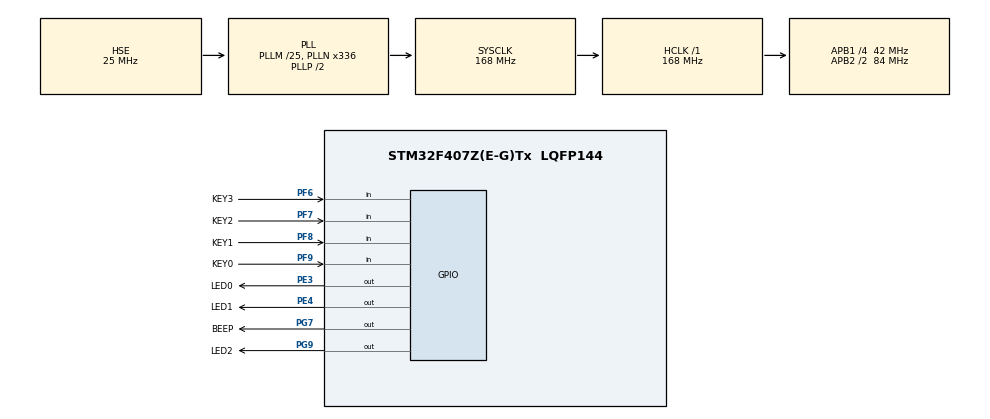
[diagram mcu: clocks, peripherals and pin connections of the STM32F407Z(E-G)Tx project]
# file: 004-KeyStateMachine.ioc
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Mcu.Family=STM32F4
Mcu.Name=STM32F407Z(E-G)Tx
Mcu.Package=LQFP144
NVIC.PriorityGroup=NVIC_PRIORITYGROUP_4
NVIC.TIM3_IRQn=true\:0\:0\:false\:false\:true\:true\:true\:true
PA13.Mode=Serial_Wire
PA13.Signal=SYS_JTMS-SWDIO
PA14.Mode=Serial_Wire
PA14.Signal=SYS_JTCK-SWCLK
PC14-OSC32_IN.Mode=LSE-External-Oscillator
PC14-OSC32_IN.Signal=RCC_OSC32_IN
PC15-OSC32_OUT.Mode=LSE-External-Oscillator
PC15-OSC32_OUT.Signal=RCC_OSC32_OUT
PE3.GPIO_Label=LED0
PE3.PinState=GPIO_PIN_SET
PE3.Signal=GPIO_Output
PE4.GPIO_Label=LED1
PE4.PinState=GPIO_PIN_SET
PE4.Signal=GPIO_Output
PF6.GPIO_Label=KEY3
PF6.GPIO_PuPd=GPIO_PULLUP
PF6.Signal=GPIO_Input
PF7.GPIO_Label=KEY2
PF7.GPIO_PuPd=GPIO_PULLUP
PF7.Signal=GPIO_Input
PF8.GPIO_Label=KEY1
PF8.GPIO_PuPd=GPIO_PULLUP
PF8.Signal=GPIO_Input
PF9.GPIO_Label=KEY0
PF9.GPIO_PuPd=GPIO_PULLUP
PF9.Signal=GPIO_Input
PG7.GPIO_Label=BEEP
PG7.Signal=GPIO_Output
PG9.GPIO_Label=LED2
PG9.PinState=GPIO_PIN_SET
PG9.Signal=GPIO_Output
PH0-OSC_IN.Mode=HSE-External-Oscillator
PH0-OSC_IN.Signal=RCC_OSC_IN
PH1-OSC_OUT.Mode=HSE-External-Oscillator
PH1-OSC_OUT.Signal=RCC_OSC_OUT
ProjectManager.HeapSize=0x200
ProjectManager.StackSize=0x400
ProjectManager.TargetToolchain=CMake
RCC.48MHZClocksFreq_Value=84000000
RCC.AHBFreq_Value=168000000
RCC.APB1CLKDivider=RCC_HCLK_DIV4
RCC.APB1Freq_Value=42000000
RCC.APB1TimFreq_Value=84000000
RCC.APB2CLKDivider=RCC_HCLK_DIV2
RCC.APB2Freq_Value=84000000
RCC.APB2TimFreq_Value=168000000
RCC.CortexFreq_Value=168000000
RCC.HCLKFreq_Value=168000000
RCC.HSE_VALUE=25000000
RCC.HSI_VALUE=16000000
RCC.PLLM=25
RCC.PLLN=336
RCC.PLLSourceVirtual=RCC_PLLSOURCE_HSE
RCC.SYSCLKFreq_VALUE=168000000
RCC.SYSCLKSource=RCC_SYSCLKSOURCE_PLLCLK
RCC.VCOOutputFreq_Value=336000000
TIM3.Period=999
TIM3.Prescaler=1679
VP_TIM3_VS_ClockSourceINT.Mode=Internal
board=custom

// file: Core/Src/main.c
/* USER CODE BEGIN Header */
/**
  ******************************************************************************
  * @file           : main.c
  * @brief          : Main program body
  ******************************************************************************
  * @attention
  *
  * Copyright (c) 2026 STMicroelectronics.
  * All rights reserved.
  *
  * This software is licensed under terms that can be found in the LICENSE file
  * in the root directory of this software component.
  * If no LICENSE file comes with this software, it is provided AS-IS.
  *
  ******************************************************************************
  */
/* USER CODE END Header */
#include "main.h"
#include "tim.h"
#include "gpio.h"

/* USER CODE BEGIN PTD */

enum KeyState{
  KEY_RELEASED = 0,
  KEY_DEBOUNCING,
  KEY_PRESSED
} KeyState;

enum KeyEvent{
  KEY_EVENT_NONE = 0,
  KEY_EVENT_PRESSED
} KeyEvent;

typedef struct KeyInfo {
  GPIO_TypeDef *gpio;
  uint16_t pin;
  enum KeyState state;
  uint32_t lastPressTime;
  enum KeyEvent event;
}KeyInfo;
/* USER CODE END PTD */

/* USER CODE BEGIN PM */
#define LEN_OF_ARRAY(array) (sizeof(array)/sizeof(array[0]))
/* USER CODE END PM */

/* USER CODE BEGIN PV */
KeyInfo keys[] = {
  {KEY0_GPIO_Port, KEY0_Pin, KEY_RELEASED, 0, KEY_EVENT_NONE},
  {KEY1_GPIO_Port, KEY1_Pin, KEY_RELEASED, 0, KEY_EVENT_NONE},
  {KEY2_GPIO_Port, KEY2_Pin, KEY_RELEASED, 0, KEY_EVENT_NONE},
  {KEY3_GPIO_Port, KEY3_Pin, KEY_RELEASED, 0, KEY_EVENT_NONE}
};
/* USER CODE END PV */

void SystemClock_Config(void);
/* USER CODE BEGIN PFP */
void Key_Scan(void);
void Key_Action(void);
void HAL_TIM_PeriodElapsedCallback(TIM_HandleTypeDef *htim);
/* USER CODE END PFP */

/* USER CODE BEGIN 0 */
void Key_Scan_Single(KeyInfo *key)
{
  switch(key->state)
  {
    case KEY_RELEASED:
      key->lastPressTime = HAL_GetTick();
      if(HAL_GPIO_ReadPin(key->gpio, key->pin) == GPIO_PIN_RESET)
      {
        key->state = KEY_DEBOUNCING;
      }
      break;
    case KEY_DEBOUNCING:
      if(HAL_GPIO_ReadPin(key->gpio, key->pin) == GPIO_PIN_RESET)
      {
        if(HAL_GetTick() - key->lastPressTime >= 30)
        {
          key->state = KEY_PRESSED;
          key->lastPressTime = HAL_GetTick();
        }
      }
      else
      {
        key->state = KEY_RELEASED;
      }
      break;
    case KEY_PRESSED:
      if(HAL_GPIO_ReadPin(key->gpio, key->pin) == GPIO_PIN_SET)
      {
        key->state = KEY_RELEASED;
        key->event = KEY_EVENT_PRESSED;
      }
      break;
  }
}
void Key_Scan(void)
{
  for(int i = 0; i < LEN_OF_ARRAY(keys); ++i) {
    Key_Scan_Single((&keys[i]));
  }
}
void Key_Action(void)
{
  for(int i = 0; i < LEN_OF_ARRAY(keys); ++i) {
    if(keys[i].event == KEY_EVENT_PRESSED) {
      keys[i].event = KEY_EVENT_NONE;
      switch(i) {
        case 0:
          HAL_GPIO_TogglePin(LED0_GPIO_Port, LED0_Pin);
          break;
        case 1:
         HAL_GPIO_TogglePin(LED1_GPIO_Port, LED1_Pin);
          break;
        case 2:
          HAL_GPIO_TogglePin(LED2_GPIO_Port, LED2_Pin);
          break;
        case 3:

          break;
      }
    }
  }
}
/* USER CODE END 0 */

int main(void)
{

  /* MCU Configuration--------------------------------------------------------*/

  /* Reset of all peripherals, Initializes the Flash interface and the Systick. */
  HAL_Init();

  /* Configure the system clock */
  SystemClock_Config();

  /* Initialize all configured peripherals */
  MX_GPIO_Init();
  MX_TIM3_Init();
  /* USER CODE BEGIN 2 */
  HAL_TIM_Base_Start_IT(&htim3);
  /* USER CODE END 2 */

  /* Infinite loop */
  while (1)
  {

  }
}

void SystemClock_Config(void)
{
  RCC_OscInitTypeDef RCC_OscInitStruct = {0};
  RCC_ClkInitTypeDef RCC_ClkInitStruct = {0};

  /** Configure the main internal regulator output voltage
  */
  __HAL_RCC_PWR_CLK_ENABLE();
  __HAL_PWR_VOLTAGESCALING_CONFIG(PWR_REGULATOR_VOLTAGE_SCALE1);

  /** Initializes the RCC Oscillators according to the specified parameters
  * in the RCC_OscInitTypeDef structure.
  */
  RCC_OscInitStruct.OscillatorType = RCC_OSCILLATORTYPE_HSE;
  RCC_OscInitStruct.HSEState = RCC_HSE_ON;
  RCC_OscInitStruct.PLL.PLLState = RCC_PLL_ON;
  RCC_OscInitStruct.PLL.PLLSource = RCC_PLLSOURCE_HSE;
  RCC_OscInitStruct.PLL.PLLM = 25;
  RCC_OscInitStruct.PLL.PLLN = 336;
  RCC_OscInitStruct.PLL.PLLP = RCC_PLLP_DIV2;
  RCC_OscInitStruct.PLL.PLLQ = 4;
  if (HAL_RCC_OscConfig(&RCC_OscInitStruct) != HAL_OK)
  {
    Error_Handler();
  }

  /** Initializes the CPU, AHB and APB buses clocks
  */
  RCC_ClkInitStruct.ClockType = RCC_CLOCKTYPE_HCLK|RCC_CLOCKTYPE_SYSCLK
                              |RCC_CLOCKTYPE_PCLK1|RCC_CLOCKTYPE_PCLK2;
  RCC_ClkInitStruct.SYSCLKSource = RCC_SYSCLKSOURCE_PLLCLK;
  RCC_ClkInitStruct.AHBCLKDivider = RCC_SYSCLK_DIV1;
  RCC_ClkInitStruct.APB1CLKDivider = RCC_HCLK_DIV4;
  RCC_ClkInitStruct.APB2CLKDivider = RCC_HCLK_DIV2;

  if (HAL_RCC_ClockConfig(&RCC_ClkInitStruct, FLASH_LATENCY_5) != HAL_OK)
  {
    Error_Handler();
  }
}

/* USER CODE BEGIN 4 */
void HAL_TIM_PeriodElapsedCallback(TIM_HandleTypeDef *htim)
{
  if (htim->Instance == TIM3) {
    Key_Scan();
    Key_Action();
  }
}
/* USER CODE END 4 */

void Error_Handler(void)
{
  __disable_irq();
  while (1)
  {
  }
}
